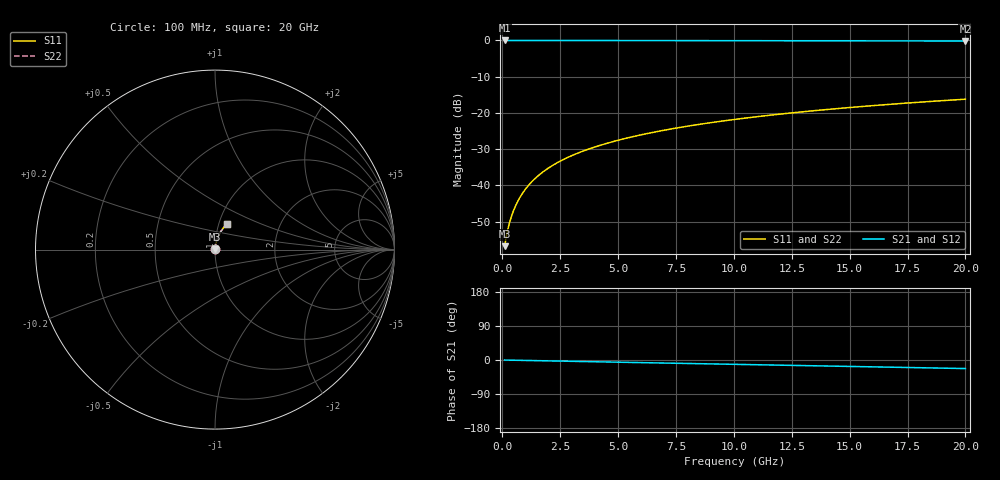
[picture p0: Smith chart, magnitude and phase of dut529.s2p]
! Touchstone file exported from HFSS 2026.1.0
!  File:  C:/ffzhzh/LocalFiles/Ansys_Project_Files/temp_train_BSMRDL_529_1783014709_51716.aedt
!  Generated:  01:53:08 AM Jul  3, 2026
!  Design:  BSMRDL
!  Project:  temp_train_BSMRDL_529_1783014709_51716
! Variables:
!  h_bsmrdl = 5.07um
!  h_ox = 20um
!  h_rdl = 5um
!  h_sub = 80um
!  h_tmrdl = 5um
!  h_tsv = 80um
!  h_via = 3um
!  l_bsmrdl = 341.2um
!  l_sub = 741.2um
!  l_tmrdl = 200um
!  m_sub = 200um
!  pitch = 46.31um
!  r_tsv = 6um
!  s_tmrdl = 10um
!  w_bsmrdl = 28.55um
!  w_sub = 500um
!  w_tmrdl = 12um
!  x_tsv_center1 = 206um
!  x_tsv_center2 = 575.75um
!  x_tsv_center3 = 787.75um
!  x_tsv_center4 = 1157.5um
!  x_tsv_center5 = 1369.5um
!  x_tsv_center6 = 1739.25um
# GHz S MA R 50.000000
! Terminal data exported
! Port[1] = BSM_RDL1_1_T1
! Port[2] = BSM_RDL1_1_T2
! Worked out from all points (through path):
!   200 points, 100 MHz to 20 GHz, reference 50 ohm
!   highest |S21| = -0.01 dB at 100 MHz (marker M1); lowest = -0.2 dB at 20 GHz (marker M2)
!   group delay of S21, straight-line fit = 3.13 ps
!   lowest |S11| = -56.8 dB at 100 MHz (marker M3), VSWR 1.00, Z = 50.1 + j0.101 ohm
!   |S11| at or under -10 dB: start of sweep to end of sweep
!   |S22| runs from -56.8 to -16.2 dB; largest |S21 - S12| = 2.6e-15
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0.1  0.001453 44.1  0.999 -0.1  0.999 -0.1  0.001453 44.1
! Gamma 0 0 0 0
! Port Impedance 50 0 50 0
0.2  0.002188 58.6  0.9988 -0.2  0.9988 -0.2  0.002188 58.6
0.3  0.002966 66.4  0.9988 -0.4  0.9988 -0.4  0.002966 66.4
0.4  0.00378 71.1  0.9987 -0.5  0.9987 -0.5  0.00378 71.1
0.5  0.004614 74.1  0.9987 -0.6  0.9987 -0.6  0.004614 74.1
0.6  0.00546 76.2  0.9986 -0.7  0.9986 -0.7  0.00546 76.2
0.8  0.007171 78.7  0.9986 -0.9  0.9986 -0.9  0.007171 78.7
1.1  0.00975 80.6  0.9985 -1.3  0.9985 -1.3  0.00975 80.6
1.3  0.01147 81.2  0.9984 -1.5  0.9984 -1.5  0.01147 81.2
1.5  0.01318 81.6  0.9983 -1.8  0.9983 -1.8  0.01318 81.6
1.8  0.01574 81.9  0.9982 -2.1  0.9982 -2.1  0.01574 81.9
2.1  0.01827 81.9  0.998 -2.5  0.998 -2.5  0.01827 81.9
2.7  0.02329 81.8  0.9977 -3.2  0.9977 -3.2  0.02329 81.8
3.5  0.02987 81.2  0.9971 -4.1  0.9971 -4.1  0.02987 81.2
4.2  0.03555 80.7  0.9966 -4.9  0.9966 -4.9  0.03555 80.7
5  0.04198 80.0  0.9961 -5.8  0.9961 -5.8  0.04198 80.0
6.8  0.05624 78.4  0.9947 -7.8  0.9947 -7.8  0.05624 78.4
8.3  0.06797 77.0  0.9936 -9.5  0.9936 -9.5  0.06797 77.0
10.1  0.08188 75.3  0.9921 -11.6  0.9921 -11.6  0.08188 75.3
13.4  0.1069 71.9  0.989 -15.3  0.989 -15.3  0.1069 71.9
16.7  0.1312 68.5  0.9855 -18.9  0.9855 -18.9  0.1312 68.5
20  0.1547 65.1  0.9816 -22.6  0.9816 -22.6  0.1547 65.1
